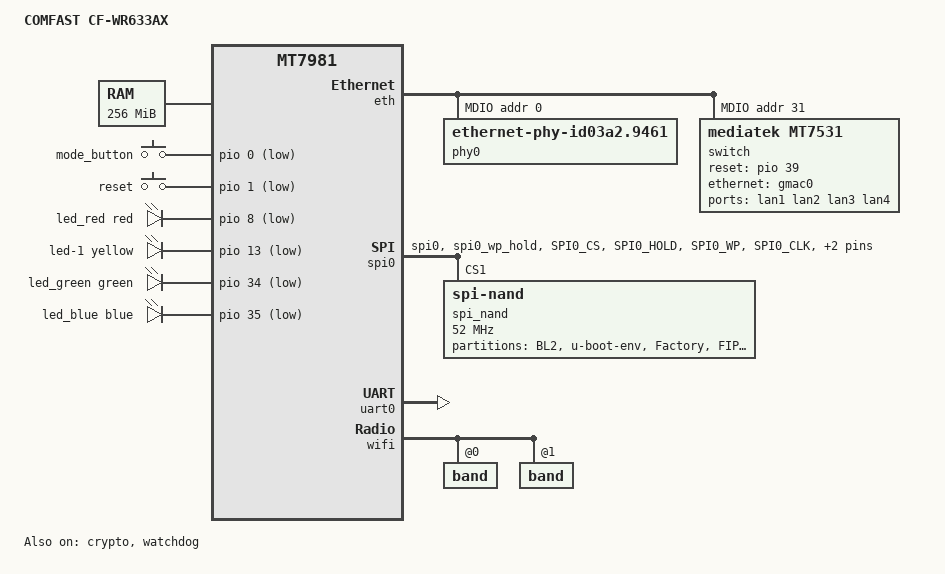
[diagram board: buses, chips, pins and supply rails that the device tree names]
// SPDX-License-Identifier: GPL-2.0-or-later OR MIT

/dts-v1/;
#include "mt7981b.dtsi"

/ {
	model = "COMFAST CF-WR633AX";
	compatible = "comfast,cf-wr633ax", "mediatek,mt7981";

	aliases {
		serial0 = &uart0;
		label-mac-device = &gmac0;
		led-boot = &led_blue;
		led-failsafe = &led_blue;
		led-running = &led_green;
		led-upgrade = &led_red;
	};

	chosen {
		bootargs-override = "console=ttyS0,115200n8";
		stdout-path = "serial0:115200n8";
	};

	memory {
		reg = <0 0x40000000 0 0x10000000>; // 256mb
	};

	gpio-keys {
		compatible = "gpio-keys";

		button-0 {
			label = "mode_button";
			linux,code = <KEY_MODE>;
			gpios = <&pio 0 GPIO_ACTIVE_LOW>;
		};

		button-1 {
			label = "reset";
			linux,code = <KEY_RESTART>;
			gpios = <&pio 1 GPIO_ACTIVE_LOW>;
		};
	};

	leds {
		compatible = "gpio-leds";

		led_red: led-0 {
			gpios = <&pio 8 GPIO_ACTIVE_LOW>;
			color = <LED_COLOR_ID_RED>;
			function = LED_FUNCTION_STATUS;
		};

		led-1 {
			gpios = <&pio 13 GPIO_ACTIVE_LOW>;
			color = <LED_COLOR_ID_YELLOW>;
			function = LED_FUNCTION_STATUS;
		};

		led_green: led-2 {
			gpios = <&pio 34 GPIO_ACTIVE_LOW>;
			color = <LED_COLOR_ID_GREEN>;
			function = LED_FUNCTION_STATUS;
		};

		led_blue: led-3 {
			gpios = <&pio 35 GPIO_ACTIVE_LOW>;
			color = <LED_COLOR_ID_BLUE>;
			function = LED_FUNCTION_STATUS;
		};
	};
};

&eth {
	status = "okay";

	gmac0: mac@0 {
		compatible = "mediatek,eth-mac";
		reg = <0>;
		label = "lan";
		phy-mode = "2500base-x";
		nvmem-cells = <&macaddr_factory_e000 0>;
		nvmem-cell-names = "mac-address";

		fixed-link {
			speed = <2500>;
			full-duplex;
			pause;
		};
	};

	gmac1: mac@1 {
		compatible = "mediatek,eth-mac";
		reg = <1>;
		label = "wan";
		phy-mode = "gmii";
		phy-handle = <&int_gbe_phy>;
		nvmem-cells = <&macaddr_factory_e000 1>;
		nvmem-cell-names = "mac-address";
	};

	mdio: mdio-bus {
		#address-cells = <1>;
		#size-cells = <0>;

		reset-gpios = <&pio 6 GPIO_ACTIVE_LOW>;
		reset-delay-us = <1500000>;
		reset-post-delay-us = <1000000>;

		phy0: ethernet-phy@0 {
			compatible = "ethernet-phy-id03a2.9461";
			reg = <0>;
			phy-mode = "gmii";
		};

		switch@0 {
			compatible = "mediatek,mt7531";
			reg = <31>;
			reset-gpios = <&pio 39 0>;

			ports {
				#address-cells = <1>;
				#size-cells = <0>;

				port@0 {
					reg = <0>;
					label = "lan1";
				};

				port@1 {
					reg = <1>;
					label = "lan2";
				};

				port@2 {
					reg = <2>;
					label = "lan3";
				};

				port@3 {
					reg = <3>;
					label = "lan4";
				};

				port@6 {
					reg = <6>;
					ethernet = <&gmac0>;
					phy-mode = "2500base-x";

					fixed-link {
							speed = <2500>;
							full-duplex;
							pause;
					};
				};
			};
		};
	};
};

&crypto {
	status = "okay";
};

&pio {
	spi0_flash_pins: spi0-pins {
		mux {
			function = "spi";
			groups = "spi0", "spi0_wp_hold";
		};
		conf-pu {
			pins = "SPI0_CS", "SPI0_HOLD", "SPI0_WP";
			drive-strength = <MTK_DRIVE_8mA>;
			bias-pull-up = <MTK_PUPD_SET_R1R0_11>;
		};
		conf-pd {
			pins = "SPI0_CLK", "SPI0_MOSI", "SPI0_MISO";
			drive-strength = <MTK_DRIVE_8mA>;
			bias-pull-down = <MTK_PUPD_SET_R1R0_11>;
		};
	};

};

&spi0 {
	pinctrl-names = "default";
	pinctrl-0 = <&spi0_flash_pins>;
	cs-gpios = <0>, <0>;
	status = "okay";

	spi_nand: spi-nand@0 {
		compatible = "spi-nand";
		reg = <1>;
		spi-max-frequency = <52000000>;

		spi-cal-enable;
		spi-cal-mode = "read-data";
		spi-cal-datalen = <7>;
		spi-cal-data = /bits/ 8 <0x53 0x50 0x49 0x4E 0x41 0x4E 0x44>;
		spi-cal-addrlen = <5>;
		spi-cal-addr = /bits/ 32 <0x0 0x0 0x0 0x0 0x0>;

		spi-tx-bus-width = <4>;
		spi-rx-bus-width = <4>;
		mediatek,nmbm;
		mediatek,bmt-max-ratio = <1>;
		mediatek,bmt-max-reserved-blocks = <64>;

		partitions {
			compatible = "fixed-partitions";
			#address-cells = <1>;
			#size-cells = <1>;

			partition@0 {
				label = "BL2";
				reg = <0x00000 0x0100000>;
				read-only;
			};

			partition@100000 {
				label = "u-boot-env";
				reg = <0x0100000 0x0080000>;
				read-only;
			};

			factory: partition@180000 {
				label = "Factory";
				reg = <0x180000 0x200000>;
				read-only;

				nvmem-layout {
					compatible = "fixed-layout";

					eeprom_factory_0: eeprom@0 {
						reg = <0x0 0x1000>;
					};

					macaddr_factory_e000: macaddr@e000 {
						compatible = "mac-base";
						reg = <0xe000 0x6>;
						#nvmem-cell-cells = <1>;
					};
				};
			};

			partition@380000 {
				label = "FIP";
				reg = <0x380000 0x200000>;
				read-only;
			};

			partition@580000 {
				label = "ubi";
				reg = <0x580000 0x4000000>;
				compatible = "linux,ubi";
			};
		};
	};
};

&uart0 {
	status = "okay";
};

&watchdog {
	status = "okay";
};

&wifi {
	status = "okay";
	nvmem-cells = <&eeprom_factory_0>;
	nvmem-cell-names = "eeprom";

	band@0 {
		reg = <0>;
		nvmem-cells = <&macaddr_factory_e000 2>;
		nvmem-cell-names = "mac-address";
	};

	band@1 {
		reg = <1>;
		nvmem-cells = <&macaddr_factory_e000 3>;
		nvmem-cell-names = "mac-address";
	};
};

